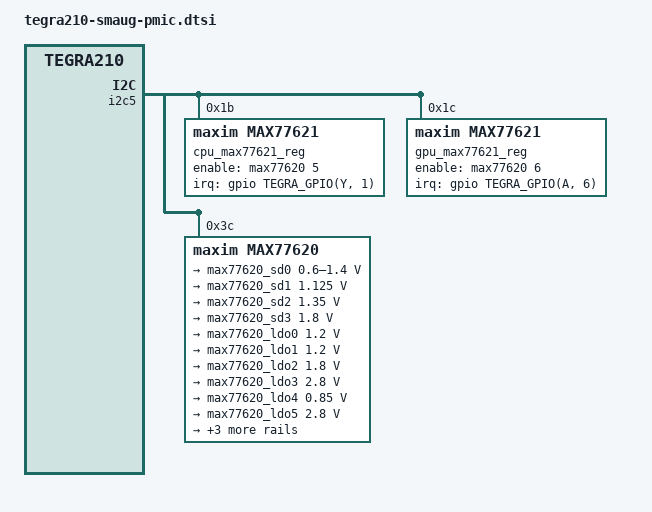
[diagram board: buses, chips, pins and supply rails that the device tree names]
/*
 * Copyright (c) 2014-2017, NVIDIA CORPORATION.  All rights reserved.
 *
 * This program is free software; you can redistribute it and/or modify
 * it under the terms of the GNU General Public License as published by
 * the Free Software Foundation; either version 2 of the License, or
 * (at your option) any later version.
 *
 * This program is distributed in the hope that it will be useful, but WITHOUT
 * ANY WARRANTY; without even the implied warranty of MERCHANTABILITY or
 * FITNESS FOR A PARTICULAR PURPOSE.  See the GNU General Public License for
 * more details.
 *
 * You should have received a copy of the GNU General Public License
 * along with this program.  If not, see <http://www.gnu.org/licenses/>.
 */

#include <dt-bindings/mfd/max77620.h>
#include <dt-bindings/regulator/regulator.h>
#include <dt-bindings/gpio/tegra-gpio.h>
#include <dt-bindings/thermal/thermal.h>
#include <dt-bindings/interrupt-controller/irq.h>
#include <dt-bindings/soc/tegra-pmc.h>

/ {
	i2c5: i2c@7000d000 {
		nvidia,bit-bang-after-shutdown;

		cpu_max77621_reg: max77621@1b {
			compatible = "maxim,max77621";
			reg = <0x1b>;
			interrupt-parent = <&gpio>;
			interrupts = <TEGRA_GPIO(Y, 1) IRQF_TRIGGER_FALLING>;
			regulator-name = "vdd-cpu";
			regulator-min-microvolt = <606250>;
			regulator-max-microvolt = <1400000>;
			regulator-max-microamp = <15000000>;
			regulator-n-voltages = <126>;
			regulator-ramp-delay = <12000>;
			regulator-enable-ramp-delay = <150>;
			regulator-disable-ramp-delay = <60000>;
			regulator-boot-on;
			regulator-always-on;
			#thermal-sensor-cells = <0>;
			maxim,enable-active-discharge;
			maxim,enable-bias-control;
			maxim,externally-enable;
			maxim,sleep-on-dvs;
			maxim,enable-etr;
			maxim,dvs-default-state = <1>;
			maxim,enable-gpio = <&max77620 5 0>;
		//	junction-warn-millicelsius = <120>;
		};

		gpu_max77621_reg: max77621@1c {
			compatible = "maxim,max77621";
			reg = <0x1c>;
			interrupt-parent = <&gpio>;
			interrupts = <TEGRA_GPIO(A, 6) IRQF_TRIGGER_FALLING>;
			regulator-name = "vdd-gpu";
			regulator-min-microvolt = <606250>;
			regulator-max-microvolt = <1400000>;
			regulator-max-microamp = <9000000>;
			regulator-init-microvolt = <1000000>;
			regulator-enable-ramp-delay = <200>;
			regulator-disable-ramp-delay = <60000>;
			regulator-boot-off;
			regulator-ramp-delay = <12500>;
			#thermal-sensor-cells = <0>;
			maxim,enable-active-discharge;
			maxim,enable-bias-control;
			maxim,enable-etr;
			maxim,dvs-default-state = <1>;
			maxim,enable-gpio = <&max77620 6 0>;
		//	junction-warn-millicelsius = <120>;
		};

		max77620: max77620@3c {
			compatible = "maxim,max77620";
			reg = <0x3c>;
			interrupts = <0 86 IRQ_TYPE_NONE>;
			nvidia,pmc-wakeup = <&tegra_pmc
				PMC_WAKE_TYPE_EVENT 51 PMC_TRIGGER_TYPE_LOW>;

			#interrupt-cells = <2>;
			interrupt-controller;

			gpio-controller;
			#gpio-cells = <2>;

			maxim,enable-clock32k-out;

			maxim,system-pmic-power-off;

			maxim,hard-power-off-time = <12>;

			maxim,avoid-rtc-bulk-register-write;

			maxim,hot-die-threshold-temp = <110000>;
			#thermal-sensor-cells = <0>;

			pinctrl-names = "default";
			pinctrl-0 = <&max77620_default>;

			max77620_default: pinmux@0 {
				pin_gpio0_1_2_7 {
					pins = "gpio0", "gpio1", "gpio2", "gpio7";
					function = "gpio";
				};

				pin_gpio3 {
					pins = "gpio3";
					function = "fps-out";
					drive-open-drain = <1>;
					maxim,active-fps-source = <MAX77620_FPS_SRC_0>;
					maxim,active-fps-power-up-slot = <4>;
					maxim,active-fps-power-down-slot = <2>;
				};

				pin_gpio4 {
					pins = "gpio4";
					function = "32k-out1";
				};

				pin_gpio5_6 {
					pins = "gpio5", "gpio6";
					function = "gpio";
					drive-push-pull = <1>;
				};
			};

			watchdog {
				maxim,wdt-boot-timeout = <16>;
				maxim,wdt-clear-time = <13>;
				status = "disabled";
				dt-override-status-odm-data = <0x00020000 0x00020000>;
			};

			fps {
				#address-cells = <1>;
				#size-cells = <0>;
				fps0 {
					reg = <0>;
					maxim,shutdown-fps-time-period-us = <5120>;
					maxim,fps-event-source = <MAX77620_FPS_EVENT_SRC_EN0>;
				};

				fps1 {
					reg = <1>;
					maxim,shutdown-fps-time-period-us = <5120>;
					maxim,fps-event-source = <MAX77620_FPS_EVENT_SRC_EN1>;
					maxim,device-state-on-disabled-event = <MAX77620_FPS_INACTIVE_STATE_SLEEP>;
				};

				fps2 {
					reg = <2>;
				//	maxim,shutdown-fps-time-period-us = <5120>;
					maxim,fps-event-source = <MAX77620_FPS_EVENT_SRC_EN0>;
				};
			};

			regulators {
				in-ldo0-1-supply = <&max77620_sd2>;
				in-ldo7-8-supply = <&max77620_sd2>;
				in-ldo2-supply = <&pp3300>;
				in-ldo3-5-supply = <&pp3300>;

				max77620_sd0: sd0 {
					regulator-name = "vdd-core"; //PPVAR_SOC
					regulator-min-microvolt = <600000>;
					regulator-max-microvolt = <1400000>;
					regulator-boot-on;
					regulator-always-on;
					maxim,active-fps-source = <MAX77620_FPS_SRC_1>;
					maxim,active-fps-power-up-slot = <1>;
					maxim,active-fps-power-down-slot = <7>;
					regulator-init-mode = <REGULATOR_MODE_NORMAL>;
					regulator-enable-ramp-delay = <146>;
					regulator-disable-ramp-delay = <4080>;
					maxim,ramp-rate-setting = <27500>;
					regulator-ramp-delay = <9100>;
				};

				max77620_sd1: sd1 {
					regulator-name = "vddio-ddr"; //PP1100
					regulator-always-on;
					regulator-boot-on;
					regulator-min-microvolt = <1125000>;
					regulator-max-microvolt = <1125000>;
				//	regulator-init-mode = <REGULATOR_MODE_NORMAL>; //1.125v
					maxim,active-fps-source = <MAX77620_FPS_SRC_0>;
					maxim,active-fps-power-up-slot = <5>;
					maxim,active-fps-power-down-slot = <1>;
					regulator-enable-ramp-delay = <130>;
					regulator-disable-ramp-delay = <145800>;
					maxim,ramp-rate-setting = <27500>;
					regulator-ramp-delay = <9100>;
				};

				max77620_sd2: sd2 {
					regulator-name = "vdd-pre-reg"; // PP1350
					regulator-min-microvolt = <1350000>;
					regulator-max-microvolt = <1350000>;
					maxim,active-fps-source = <MAX77620_FPS_SRC_0>;
					maxim,active-fps-power-up-slot = <2>;
					maxim,active-fps-power-down-slot = <5>;
					regulator-enable-ramp-delay = <176>;
					regulator-disable-ramp-delay = <32000>;
					maxim,ramp-rate-setting = <27500>;
					regulator-ramp-delay = <7900>;
					regulator-always-on;
					regulator-boot-on;
				};

				max77620_sd3: sd3 {
					regulator-name = "vdd-1v8"; // PP1800
					regulator-min-microvolt = <1800000>;
					regulator-max-microvolt = <1800000>;
					regulator-always-on;
					regulator-boot-on;
					maxim,active-fps-source = <MAX77620_FPS_SRC_0>;
					maxim,active-fps-power-up-slot = <3>;
					maxim,active-fps-power-down-slot = <3>;
					regulator-init-mode = <REGULATOR_MODE_NORMAL>;
					regulator-enable-ramp-delay = <242>;
					regulator-disable-ramp-delay = <118000>;
					maxim,ramp-rate-setting = <27500>;
					regulator-ramp-delay = <7700>;
				};

				max77620_ldo0: ldo0 {
					regulator-name = "avdd-sys"; // AVDD_SYS_1V2
					regulator-min-microvolt = <1200000>;
					regulator-max-microvolt = <1200000>;
					regulator-always-on;
					regulator-boot-on;
					maxim,active-fps-source = <MAX77620_FPS_SRC_NONE>;
					maxim,active-fps-power-up-slot = <0>;
					maxim,active-fps-power-down-slot = <7>;
					regulator-enable-ramp-delay = <26>;
					regulator-disable-ramp-delay = <626>;
					maxim,ramp-rate-setting = <100000>;
					regulator-ramp-delay = <50000>;
				};

				max77620_ldo1: ldo1 {
					regulator-name = "vdd-pex"; // PP1200_RCAM
					regulator-min-microvolt = <1200000>;
					regulator-max-microvolt = <1200000>;
					maxim,active-fps-source = <MAX77620_FPS_SRC_NONE>;
					maxim,active-fps-power-up-slot = <0>;
					maxim,active-fps-power-down-slot = <7>;
					regulator-enable-ramp-delay = <22>;
					regulator-disable-ramp-delay = <630>;
					maxim,ramp-rate-setting = <100000>;
					regulator-ramp-delay = <50000>;
				};

				max77620_ldo2: ldo2 {
					regulator-name = "vddio-sdmmc1"; // PP_LDO2
					regulator-min-microvolt = <1800000>;
					regulator-max-microvolt = <1800000>;
					maxim,active-fps-source = <MAX77620_FPS_SRC_NONE>;
					maxim,active-fps-power-up-slot = <0>;
					maxim,active-fps-power-down-slot = <7>;
					regulator-enable-ramp-delay = <62>;
					regulator-disable-ramp-delay = <650>;
					maxim,ramp-rate-setting = <100000>;
					regulator-ramp-delay = <50000>;
					regulator-always-on;
					regulator-boot-on;
				};

				max77620_ldo3: ldo3 {
					regulator-name = "vdd-gc-3v1"; // PP2800L_RCAM
					regulator-min-microvolt = <2800000>;
					regulator-max-microvolt = <2800000>;
					maxim,active-fps-source = <MAX77620_FPS_SRC_NONE>;
					maxim,active-fps-power-up-slot = <0>;
					maxim,active-fps-power-down-slot = <7>;
					regulator-enable-ramp-delay = <50>;
					regulator-disable-ramp-delay = <1110>;
					maxim,ramp-rate-setting = <100000>;
					regulator-ramp-delay = <50000>;
				};

				max77620_ldo4: ldo4 {
					regulator-name = "vdd-rtc"; // PP1100_SOC_RTC
					regulator-min-microvolt = <850000>;
					regulator-max-microvolt = <850000>;
					regulator-always-on;
					regulator-boot-on;
					maxim,active-fps-power-up-slot = <1>;
					maxim,active-fps-power-down-slot = <7>;
					maxim,active-fps-source = <MAX77620_FPS_SRC_0>;
					regulator-enable-ramp-delay = <22>;
					regulator-disable-ramp-delay = <610>;
					maxim,ramp-rate-setting = <100000>;
					regulator-ramp-delay = <50000>;
				};

				max77620_ldo5: ldo5 {
					regulator-name = "vdd-gc-1v8"; // PP2800L_FCAM
					regulator-min-microvolt = <2800000>;
					regulator-max-microvolt = <2800000>;
					maxim,active-fps-source = <MAX77620_FPS_SRC_NONE>;
					maxim,active-fps-power-up-slot = <0>;
					maxim,active-fps-power-down-slot = <7>;
					regulator-enable-ramp-delay = <62>;
					regulator-disable-ramp-delay = <640>;
					maxim,ramp-rate-setting = <100000>;
					regulator-ramp-delay = <50000>;
				};

				max77620_ldo6: ldo6 {
					regulator-name = "vdd-tp-3v1"; // PP_LDO6
					regulator-min-microvolt = <1800000>;
					regulator-max-microvolt = <1800000>;
					maxim,active-fps-source = <MAX77620_FPS_SRC_NONE>;
					maxim,active-fps-power-up-slot = <0>;
					maxim,active-fps-power-down-slot = <7>;
					regulator-enable-ramp-delay = <36>;
					regulator-disable-ramp-delay = <674>;
					maxim,ramp-rate-setting = <100000>;
					regulator-ramp-delay = <50000>;
				};

				max77620_ldo7: ldo7 {
					regulator-name = "vdd-gen-pll-edp"; // PP1050_AVDD
					regulator-min-microvolt = <1050000>;
					regulator-max-microvolt = <1050000>;
					regulator-always-on;
					regulator-boot-on;
					maxim,active-fps-source = <MAX77620_FPS_SRC_1>;
					maxim,active-fps-power-up-slot = <3>;
					maxim,active-fps-power-down-slot = <4>;
					regulator-enable-ramp-delay = <24>;
					regulator-disable-ramp-delay = <2768>;
					maxim,ramp-rate-setting = <100000>;
					regulator-ramp-delay = <50000>;
				};

				max77620_ldo8: ldo8 {
					regulator-name = "vdd-hdmi-dp"; // AVDDIO_1V05
					regulator-min-microvolt = <1050000>;
					regulator-max-microvolt = <1050000>;
					maxim,active-fps-source = <MAX77620_FPS_SRC_NONE>;
					maxim,active-fps-power-up-slot = <0>;
					maxim,active-fps-power-down-slot = <7>;
					regulator-enable-ramp-delay = <22>;
					regulator-disable-ramp-delay = <1160>;
					maxim,ramp-rate-setting = <100000>;
					regulator-ramp-delay = <50000>;
					regulator-always-on;
					regulator-boot-on;
				};
			};
		};
	};

	dummy_cool_dev: dummy-cool-dev {
		compatible = "dummy-cooling-dev";
		#cooling-cells = <2>; /* min followed by max */
	};

	thermal-zones {
		PMIC-Die {
			polling-delay = <0>; /* milliseconds */
			polling-delay-passive = <0>; /* milliseconds */

			thermal-sensors = <&max77620>;
			trips {
				die_temp_thresh: hot-die {
					temperature = <120000>;
					type = "active";
					hysteresis = <0>;
				};
			};

			cooling-maps {
				map0 {
					trip = <&die_temp_thresh>;
					cooling-device = <&dummy_cool_dev THERMAL_NO_LIMIT
								THERMAL_NO_LIMIT>;
					contribution = <100>;
					cdev-type = "emergency-balanced";
				};
			};
		};
	};

	extcon {
		compatible = "simple-bus";
		device_type = "external-connection";
		#address-cells = <1>;
		#size-cells = <0>;
	};

};
